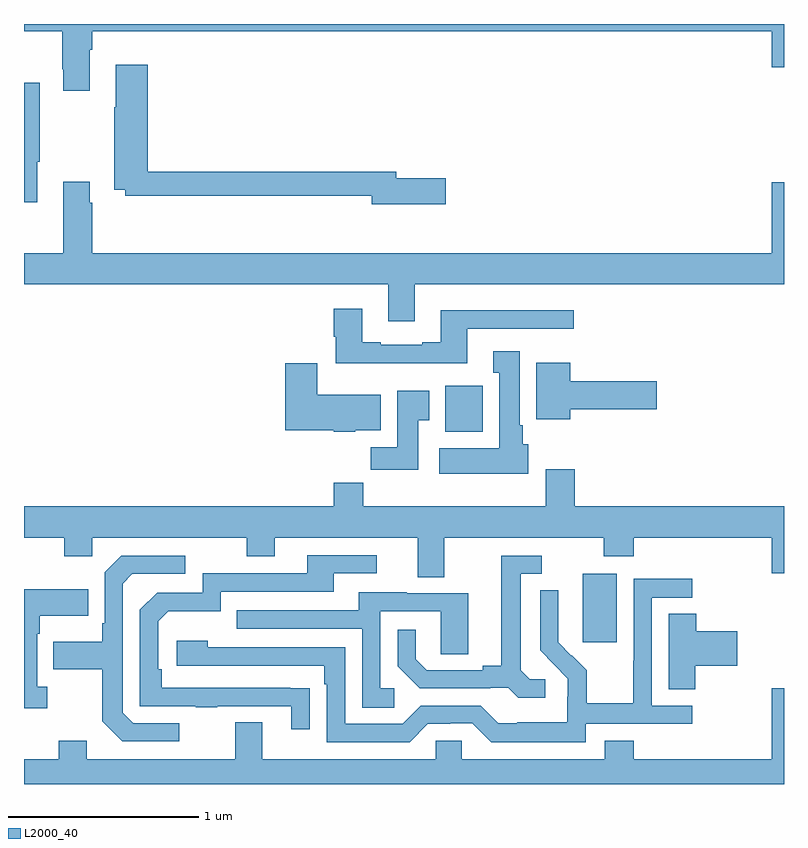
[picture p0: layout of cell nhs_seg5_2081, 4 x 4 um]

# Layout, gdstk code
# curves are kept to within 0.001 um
import gdstk
lib = gdstk.Library(unit=1e-6, precision=1e-09)
def R(c, l, rs):  # rectangles x0, y0, x1, y1
    for r in rs: c.add(gdstk.rectangle(r[:2], r[2:], *l))
def P(c, l, *ps):  # polygons
    for p in ps: c.add(gdstk.Polygon(p, *l))
L2000_40 = (2000, 40)

nhs_seg5_2081 = lib.new_cell('nhs_seg5_2081')
R(nhs_seg5_2081, L2000_40, [(235.94,853.545,236.119,853.906), (235.217,854.654,235.414,854.896)])
P(nhs_seg5_2081, L2000_40, [(233.347,856.664),(233.36,856.664),(233.36,856.76),(236.936,856.76),(236.936,856.572),(237,856.572),(237,856.799),(233,856.799),(233,856.76),(233.2,856.76),(233.2,856.561),(233.207,856.561),(233.207,856.449),(233.347,856.449)],
  [(235.219,855.986),(234.958,855.986),(234.958,856.022),(233.651,856.022),(233.651,856.585),(233.483,856.585),(233.483,856.361),(233.476,856.361),(233.476,855.926),(233.532,855.926),(233.532,855.894),(234.83,855.894),(234.83,855.851),(235.219,855.851)],
  [(233.071,856.073),(233.083,856.073),(233.083,856.489),(233,856.489),(233,855.861),(233.071,855.861)],
  [(235.057,855.428),(237,855.428),(237,855.967),(236.936,855.967),(236.936,855.592),(233.36,855.592),(233.36,855.857),(233.347,855.857),(233.347,855.97),(233.207,855.97),(233.207,855.592),(233,855.592),(233,855.428),(234.917,855.428),(234.917,855.234),(235.057,855.234)],
  [(235.333,855.195),(235.894,855.195),(235.894,855.292),(235.193,855.292),(235.193,855.124),(235.097,855.124),(235.097,855.111),(234.877,855.111),(234.877,855.124),(234.781,855.124),(234.781,855.301),(234.629,855.301),(234.629,855.153),(234.641,855.153),(234.641,855.014),(235.333,855.014)],
  [(235.654,854.586),(235.624,854.586),(235.624,854.686),(235.609,854.686),(235.609,855.076),(235.469,855.076),(235.469,854.963),(235.502,854.963),(235.502,854.566),(235.185,854.566),(235.185,854.432),(235.654,854.432)],
  [(235.876,854.771),(236.329,854.771),(236.329,854.918),(235.876,854.918),(235.876,855.016),(235.697,855.016),(235.697,854.72),(235.876,854.72)],
  [(234.744,854.66),(234.877,854.66),(234.877,854.848),(234.544,854.848),(234.544,855.013),(234.374,855.013),(234.374,854.66),(234.63,854.66),(234.63,854.654),(234.744,854.654)],
  [(235.075,854.713),(235.132,854.713),(235.132,854.869),(234.965,854.869),(234.965,854.572),(234.826,854.572),(234.826,854.454),(235.075,854.454)],
  [(235.213,854.096),(236.05,854.096),(236.05,853.997),(236.21,853.997),(236.21,854.096),(236.936,854.096),(236.936,853.908),(237,853.908),(237,854.26),(235.898,854.26),(235.898,854.455),(235.745,854.455),(235.745,854.26),(234.785,854.26),(234.785,854.384),(234.629,854.384),(234.629,854.26),(233,854.26),(233,854.096),(233.212,854.096),(233.212,853.997),(233.358,853.997),(233.358,854.096),(234.172,854.096),(234.172,853.997),(234.319,853.997),(234.319,854.096),(235.073,854.096),(235.073,853.888),(235.213,853.888)],
  [(234.503,853.304),(233.726,853.305),(233.726,853.402),(233.706,853.402),(233.706,853.656),(233.759,853.709),(234.036,853.709),(234.036,853.812),(234.631,853.812),(234.631,853.908),(234.856,853.908),(234.856,854.004),(234.491,854.004),(234.491,853.908),(233.94,853.908),(233.94,853.806),(233.7,853.806),(233.61,853.716),(233.61,853.209),(233.905,853.209),(233.905,853.204),(234.017,853.204),(234.017,853.209),(234.407,853.209),(234.407,853.086),(234.503,853.086)],
  [(235.744,853.35),(235.662,853.35),(235.615,853.397),(235.615,853.905),(235.726,853.905),(235.726,854.001),(235.511,854.001),(235.511,853.421),(235.415,853.421),(235.415,853.398),(235.12,853.398),(235.063,853.455),(235.063,853.612),(234.966,853.612),(234.966,853.418),(235.082,853.302),(235.454,853.302),(235.454,853.305),(235.548,853.305),(235.6,853.253),(235.744,853.253)],
  [(233.818,853.119),(233.574,853.119),(233.52,853.173),(233.52,853.854),(233.571,853.905),(233.848,853.905),(233.848,854.001),(233.511,854.001),(233.424,853.914),(233.424,853.645),(233.412,853.645),(233.412,853.549),(233.155,853.549),(233.155,853.402),(233.412,853.402),(233.412,853.129),(233.517,853.023),(233.818,853.023)],
  [(235.956,853.116),(236.518,853.116),(236.518,853.212),(236.304,853.212),(236.304,853.779),(236.518,853.779),(236.518,853.878),(236.208,853.878),(236.208,853.448),(236.206,853.448),(236.206,853.225),(235.961,853.225),(235.961,853.399),(235.884,853.476),(235.881,853.473),(235.811,853.544),(235.812,853.82),(235.716,853.82),(235.716,853.502),(235.862,853.354),(235.862,853.257),(235.86,853.257),(235.86,853.123),(235.597,853.123),(235.597,853.119),(235.497,853.119),(235.404,853.212),(235.089,853.212),(234.993,853.116),(234.69,853.116),(234.69,853.518),(233.966,853.518),(233.966,853.552),(233.805,853.552),(233.805,853.422),(234.581,853.422),(234.581,853.325),(234.594,853.325),(234.594,853.02),(235.029,853.02),(235.125,853.116),(235.244,853.116),(235.244,853.119),(235.359,853.119),(235.459,853.019),(235.956,853.019)],
  [(233.122,853.31),(233.07,853.31),(233.07,853.589),(233.083,853.589),(233.083,853.685),(233.339,853.685),(233.339,853.825),(233,853.825),(233,853.197),(233.122,853.197)],
  [(234.949,853.302),(234.876,853.302),(234.876,853.707),(235.194,853.707),(235.194,853.483),(235.339,853.483),(235.339,853.803),(235.015,853.803),(235.015,853.807),(234.761,853.807),(234.761,853.713),(234.121,853.713),(234.121,853.617),(234.78,853.617),(234.78,853.201),(234.949,853.201)],
  [(236.532,853.421),(236.755,853.421),(236.755,853.604),(236.537,853.604),(236.537,853.694),(236.393,853.694),(236.393,853.297),(236.532,853.297)],
  [(237,853.303),(236.936,853.303),(236.936,852.928),(236.21,852.928),(236.21,853.027),(236.057,853.027),(236.057,852.928),(235.305,852.928),(235.305,853.026),(235.167,853.026),(235.167,852.928),(234.253,852.928),(234.253,853.123),(234.113,853.123),(234.113,852.928),(233.329,852.928),(233.329,853.027),(233.182,853.027),(233.182,852.928),(233,852.928),(233,852.799),(237,852.799)])

lib.write_gds('nhs_seg5_2081.gds')
